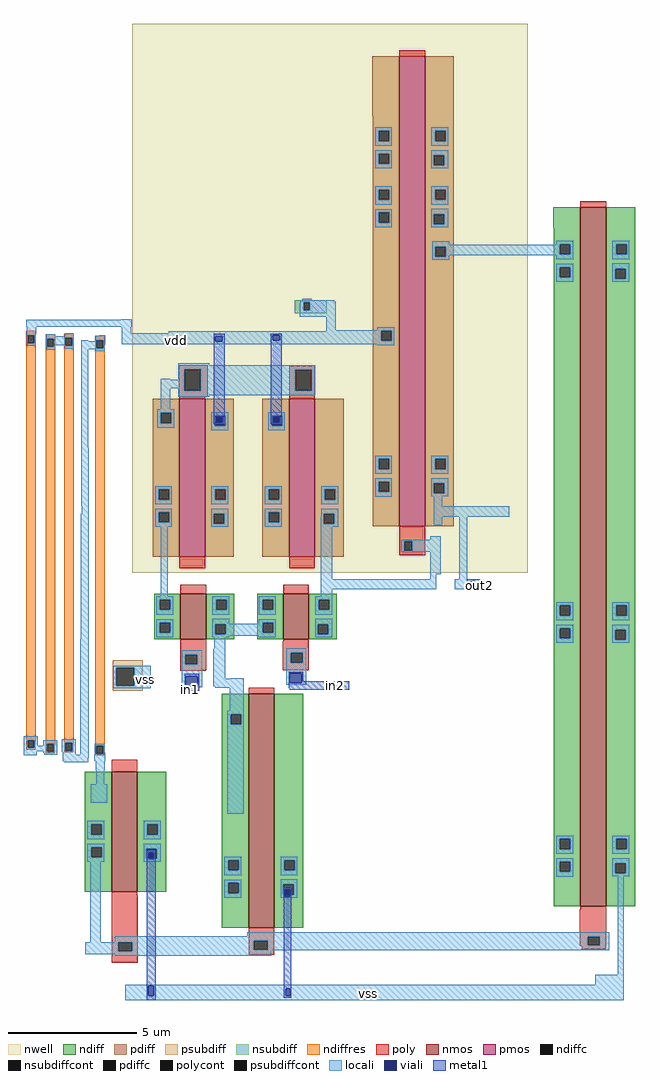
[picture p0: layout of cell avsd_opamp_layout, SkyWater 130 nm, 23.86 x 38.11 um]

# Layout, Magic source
magic
tech sky130A
<< nwell >>
rect -107 629 1438 2771
<< nmos >>
rect 81 368 181 547
rect 482 368 582 547
rect -187 -617 -87 -149
rect 347 -757 447 155
rect 1643 -674 1743 2056
<< pmos >>
rect 77 691 177 1307
rect 506 691 606 1307
rect 936 810 1036 2645
<< ndiff >>
rect 1537 1975 1643 2056
rect 1538 1911 1643 1975
rect 1538 1871 1563 1911
rect 1604 1871 1643 1911
rect 1538 1822 1643 1871
rect 1538 1782 1563 1822
rect 1604 1782 1643 1822
rect -21 523 81 547
rect -21 483 1 523
rect 42 483 81 523
rect -21 434 81 483
rect -21 394 1 434
rect 42 394 81 434
rect -21 368 81 394
rect 181 523 291 547
rect 181 483 220 523
rect 261 483 291 523
rect 181 428 291 483
rect 181 388 216 428
rect 257 388 291 428
rect 181 368 291 388
rect 380 523 482 547
rect 380 483 402 523
rect 443 483 482 523
rect 380 434 482 483
rect 380 394 402 434
rect 443 394 482 434
rect 380 368 482 394
rect 582 523 692 547
rect 582 483 621 523
rect 662 483 692 523
rect 582 428 692 483
rect 582 388 617 428
rect 658 388 692 428
rect 582 368 692 388
rect 1538 501 1643 1782
rect 1538 461 1563 501
rect 1604 461 1643 501
rect 1538 412 1643 461
rect 1538 372 1563 412
rect 1604 372 1643 412
rect 242 76 347 155
rect 242 36 278 76
rect 319 36 347 76
rect -292 -354 -187 -149
rect -292 -394 -267 -354
rect -226 -394 -187 -354
rect -292 -443 -187 -394
rect -292 -483 -267 -443
rect -226 -483 -187 -443
rect -292 -617 -187 -483
rect -87 -354 26 -149
rect -87 -394 -48 -354
rect -7 -394 26 -354
rect -87 -449 26 -394
rect -87 -489 -52 -449
rect -11 -489 26 -449
rect -87 -617 26 -489
rect 242 -494 347 36
rect 242 -534 267 -494
rect 308 -534 347 -494
rect 242 -583 347 -534
rect 242 -623 267 -583
rect 308 -623 347 -583
rect 242 -757 347 -623
rect 447 -494 560 155
rect 447 -534 486 -494
rect 527 -534 560 -494
rect 447 -589 560 -534
rect 447 -629 482 -589
rect 523 -629 560 -589
rect 447 -757 560 -629
rect 1538 -411 1643 372
rect 1538 -451 1563 -411
rect 1604 -451 1643 -411
rect 1538 -500 1643 -451
rect 1538 -540 1563 -500
rect 1604 -540 1643 -500
rect 1538 -674 1643 -540
rect 1743 1911 1856 2056
rect 1743 1871 1782 1911
rect 1823 1871 1856 1911
rect 1743 1816 1856 1871
rect 1743 1776 1778 1816
rect 1819 1776 1856 1816
rect 1743 501 1856 1776
rect 1743 461 1782 501
rect 1823 461 1856 501
rect 1743 406 1856 461
rect 1743 366 1778 406
rect 1819 366 1856 406
rect 1743 -411 1856 366
rect 1743 -451 1782 -411
rect 1823 -451 1856 -411
rect 1743 -506 1856 -451
rect 1743 -546 1778 -506
rect 1819 -546 1856 -506
rect 1743 -674 1856 -546
<< pdiff >>
rect 830 2413 936 2645
rect 831 2354 936 2413
rect 831 2314 856 2354
rect 897 2314 936 2354
rect 831 2265 936 2314
rect 831 2225 856 2265
rect 897 2225 936 2265
rect 831 2124 936 2225
rect 831 2084 856 2124
rect 897 2084 936 2124
rect 831 2035 936 2084
rect 831 1995 856 2035
rect 897 1995 936 2035
rect 831 1574 936 1995
rect 831 1534 865 1574
rect 906 1534 936 1574
rect -28 1253 77 1307
rect -28 1213 5 1253
rect 46 1213 77 1253
rect -28 954 77 1213
rect -28 914 -3 954
rect 38 914 77 954
rect -28 865 77 914
rect -28 825 -3 865
rect 38 825 77 865
rect -28 691 77 825
rect 177 1242 290 1307
rect 177 1202 215 1242
rect 256 1202 290 1242
rect 177 954 290 1202
rect 177 914 216 954
rect 257 914 290 954
rect 177 859 290 914
rect 177 819 212 859
rect 253 819 290 859
rect 177 691 290 819
rect 401 1242 506 1307
rect 401 1202 437 1242
rect 478 1202 506 1242
rect 401 954 506 1202
rect 401 914 426 954
rect 467 914 506 954
rect 401 865 506 914
rect 401 825 426 865
rect 467 825 506 865
rect 401 691 506 825
rect 606 954 719 1307
rect 606 914 645 954
rect 686 914 719 954
rect 606 859 719 914
rect 606 819 641 859
rect 682 819 719 859
rect 606 691 719 819
rect 831 1073 936 1534
rect 831 1033 856 1073
rect 897 1033 936 1073
rect 831 984 936 1033
rect 831 944 856 984
rect 897 944 936 984
rect 831 810 936 944
rect 1036 2354 1149 2645
rect 1036 2314 1075 2354
rect 1116 2314 1149 2354
rect 1036 2259 1149 2314
rect 1036 2219 1071 2259
rect 1112 2219 1149 2259
rect 1036 2124 1149 2219
rect 1036 2084 1075 2124
rect 1116 2084 1149 2124
rect 1036 2029 1149 2084
rect 1036 1989 1071 2029
rect 1112 1989 1149 2029
rect 1036 1902 1149 1989
rect 1036 1862 1075 1902
rect 1116 1862 1149 1902
rect 1036 1073 1149 1862
rect 1036 1033 1075 1073
rect 1116 1033 1149 1073
rect 1036 978 1149 1033
rect 1036 938 1071 978
rect 1112 938 1149 978
rect 1036 810 1149 938
<< ndiffc >>
rect -516 1525 -489 1556
rect -516 -56 -489 -25
rect -440 1511 -413 1542
rect -440 -70 -413 -39
rect -368 1514 -341 1545
rect -368 -67 -341 -36
rect -247 1505 -220 1536
rect 1563 1871 1604 1911
rect 1563 1782 1604 1822
rect 1 483 42 523
rect 1 394 42 434
rect 220 483 261 523
rect 216 388 257 428
rect 402 483 443 523
rect 402 394 443 434
rect 621 483 662 523
rect 617 388 658 428
rect 1563 461 1604 501
rect 1563 372 1604 412
rect -248 -78 -221 -47
rect 278 36 319 76
rect -267 -394 -226 -354
rect -267 -483 -226 -443
rect -48 -394 -7 -354
rect -52 -489 -11 -449
rect 267 -534 308 -494
rect 267 -623 308 -583
rect 486 -534 527 -494
rect 482 -629 523 -589
rect 1563 -451 1604 -411
rect 1563 -540 1604 -500
rect 1782 1871 1823 1911
rect 1778 1776 1819 1816
rect 1782 461 1823 501
rect 1778 366 1819 406
rect 1782 -451 1823 -411
rect 1778 -546 1819 -506
<< pdiffc >>
rect 856 2314 897 2354
rect 856 2225 897 2265
rect 856 2084 897 2124
rect 856 1995 897 2035
rect 865 1534 906 1574
rect 5 1213 46 1253
rect -3 914 38 954
rect -3 825 38 865
rect 215 1202 256 1242
rect 216 914 257 954
rect 212 819 253 859
rect 437 1202 478 1242
rect 426 914 467 954
rect 426 825 467 865
rect 645 914 686 954
rect 641 819 682 859
rect 856 1033 897 1073
rect 856 944 897 984
rect 1075 2314 1116 2354
rect 1071 2219 1112 2259
rect 1075 2084 1116 2124
rect 1071 1989 1112 2029
rect 1075 1862 1116 1902
rect 1075 1033 1116 1073
rect 1071 938 1112 978
<< psubdiff >>
rect -184 258 -66 287
rect -184 188 -169 258
rect -99 188 -66 258
rect -184 168 -66 188
<< nsubdiff >>
rect 556 1693 594 1698
rect 527 1684 652 1693
rect 527 1654 563 1684
rect 586 1654 652 1684
rect 527 1641 652 1654
<< psubdiffcont >>
rect -169 188 -99 258
<< nsubdiffcont >>
rect 563 1654 586 1684
<< poly >>
rect 936 2645 1036 2668
rect 75 1422 188 1439
rect 75 1339 96 1422
rect 161 1339 188 1422
rect 75 1316 188 1339
rect 506 1421 606 1436
rect 506 1338 529 1421
rect 594 1338 606 1421
rect 77 1307 177 1316
rect 506 1307 606 1338
rect 1643 2056 1743 2079
rect 936 751 1036 810
rect 936 714 954 751
rect 986 714 1036 751
rect 936 697 1036 714
rect 77 645 177 691
rect 506 645 606 691
rect 81 547 181 581
rect 482 547 582 581
rect 81 309 181 368
rect 482 360 582 368
rect 81 271 99 309
rect 146 271 181 309
rect 81 247 181 271
rect 481 315 582 360
rect 481 277 512 315
rect 559 277 582 315
rect 481 248 582 277
rect 81 246 180 247
rect 347 155 447 180
rect -187 -149 -87 -101
rect -187 -632 -87 -617
rect -188 -815 -85 -632
rect 1643 -687 1743 -674
rect -188 -850 -161 -815
rect -107 -850 -85 -815
rect -188 -895 -85 -850
rect 347 -808 447 -757
rect 347 -843 367 -808
rect 421 -843 447 -808
rect 1641 -793 1743 -687
rect 1641 -826 1671 -793
rect 1719 -826 1743 -793
rect 1641 -829 1743 -826
rect 1647 -841 1741 -829
rect 347 -864 447 -843
<< polycont >>
rect 96 1339 161 1422
rect 529 1338 594 1421
rect 954 714 986 751
rect 99 271 146 309
rect 512 277 559 315
rect -161 -850 -107 -815
rect 367 -843 421 -808
rect 1671 -826 1719 -793
<< ndiffres >>
rect -521 1556 -484 1573
rect -521 1525 -516 1556
rect -489 1525 -484 1556
rect -521 -25 -484 1525
rect -521 -56 -516 -25
rect -489 -31 -484 -25
rect -445 1542 -408 1559
rect -445 1511 -440 1542
rect -413 1511 -408 1542
rect -489 -56 -485 -31
rect -521 -62 -485 -56
rect -445 -39 -408 1511
rect -445 -70 -440 -39
rect -413 -45 -408 -39
rect -373 1545 -336 1562
rect -373 1514 -368 1545
rect -341 1514 -336 1545
rect -373 -36 -336 1514
rect -413 -70 -409 -45
rect -445 -76 -409 -70
rect -373 -67 -368 -36
rect -341 -42 -336 -36
rect -252 1536 -215 1553
rect -252 1505 -247 1536
rect -220 1505 -215 1536
rect -341 -67 -337 -42
rect -373 -73 -337 -67
rect -252 -47 -215 1505
rect -252 -78 -248 -47
rect -221 -51 -215 -47
rect -221 -78 -216 -51
rect -252 -84 -216 -78
<< locali >>
rect 841 2354 907 2367
rect 841 2314 856 2354
rect 897 2314 907 2354
rect 841 2296 907 2314
rect 1061 2354 1127 2367
rect 1061 2314 1075 2354
rect 1116 2314 1127 2354
rect 1061 2296 1127 2314
rect 841 2265 907 2278
rect 841 2225 856 2265
rect 897 2225 907 2265
rect 841 2207 907 2225
rect 1061 2259 1127 2279
rect 1061 2219 1071 2259
rect 1112 2219 1127 2259
rect 1061 2208 1127 2219
rect 841 2124 907 2137
rect 841 2084 856 2124
rect 897 2084 907 2124
rect 841 2066 907 2084
rect 1061 2124 1127 2137
rect 1061 2084 1075 2124
rect 1116 2084 1127 2124
rect 1061 2066 1127 2084
rect 841 2035 907 2048
rect 841 1995 856 2035
rect 897 1995 907 2035
rect 841 1977 907 1995
rect 1061 2029 1127 2049
rect 1061 1989 1071 2029
rect 1112 1989 1127 2029
rect 1061 1978 1127 1989
rect 1065 1909 1131 1922
rect 1548 1911 1614 1924
rect 1548 1909 1563 1911
rect 1065 1902 1563 1909
rect 1065 1862 1075 1902
rect 1116 1871 1563 1902
rect 1604 1871 1614 1911
rect 1116 1869 1614 1871
rect 1116 1862 1131 1869
rect 1065 1851 1131 1862
rect 1548 1853 1614 1869
rect 1768 1911 1834 1924
rect 1768 1871 1782 1911
rect 1823 1871 1834 1911
rect 1768 1853 1834 1871
rect 1548 1822 1614 1835
rect 1548 1782 1563 1822
rect 1604 1782 1614 1822
rect 1548 1764 1614 1782
rect 1768 1816 1834 1836
rect 1768 1776 1778 1816
rect 1819 1776 1834 1816
rect 1768 1765 1834 1776
rect 549 1686 681 1693
rect 549 1684 687 1686
rect 549 1680 563 1684
rect 547 1654 563 1680
rect 586 1654 687 1684
rect 547 1628 687 1654
rect -150 1617 -112 1618
rect -522 1588 -110 1617
rect -520 1561 -482 1588
rect -150 1586 -112 1588
rect -149 1564 -112 1586
rect 651 1575 687 1628
rect 850 1575 916 1587
rect 651 1574 916 1575
rect 651 1571 865 1574
rect 35 1564 865 1571
rect -371 1562 -337 1564
rect -519 1556 -484 1561
rect -519 1525 -516 1556
rect -489 1525 -484 1556
rect -519 1522 -484 1525
rect -518 1514 -484 1522
rect -443 1559 -409 1560
rect -443 1551 -408 1559
rect -371 1551 -336 1562
rect -149 1556 865 1564
rect -236 1553 -213 1555
rect -443 1545 -336 1551
rect -443 1542 -368 1545
rect -443 1511 -440 1542
rect -413 1516 -368 1542
rect -413 1511 -408 1516
rect -371 1514 -368 1516
rect -341 1514 -336 1545
rect -249 1536 -213 1553
rect -371 1511 -336 1514
rect -443 1508 -408 1511
rect -442 1500 -408 1508
rect -370 1503 -336 1511
rect -307 1533 -279 1536
rect -250 1533 -247 1536
rect -307 1505 -247 1533
rect -220 1518 -213 1536
rect -149 1552 441 1556
rect -149 1532 217 1552
rect 244 1536 441 1552
rect 468 1536 865 1556
rect 244 1534 865 1536
rect 906 1534 916 1574
rect 244 1532 916 1534
rect -149 1521 916 1532
rect -220 1505 -215 1518
rect 850 1516 916 1521
rect -307 1501 -215 1505
rect -307 1117 -279 1501
rect -249 1494 -215 1501
rect 72 1438 193 1446
rect 72 1422 607 1438
rect 4 1382 41 1385
rect 72 1382 96 1422
rect 4 1349 96 1382
rect 4 1266 41 1349
rect 72 1339 96 1349
rect 161 1421 607 1422
rect 161 1339 529 1421
rect 72 1338 529 1339
rect 594 1338 607 1421
rect 72 1321 607 1338
rect 72 1315 193 1321
rect -9 1253 57 1266
rect -9 1213 5 1253
rect 46 1213 57 1253
rect -9 1195 57 1213
rect 201 1242 267 1255
rect 201 1202 215 1242
rect 256 1202 267 1242
rect 201 1184 267 1202
rect 423 1242 489 1255
rect 423 1202 437 1242
rect 478 1202 489 1242
rect 423 1184 489 1202
rect -307 890 -277 1117
rect 841 1073 907 1086
rect 841 1033 856 1073
rect 897 1033 907 1073
rect 841 1015 907 1033
rect 1061 1073 1127 1086
rect 1061 1033 1075 1073
rect 1116 1033 1127 1073
rect 1061 1015 1127 1033
rect 841 984 907 997
rect -18 954 48 967
rect -18 914 -3 954
rect 38 914 48 954
rect -18 896 48 914
rect 202 954 268 967
rect 202 914 216 954
rect 257 914 268 954
rect 202 896 268 914
rect 411 954 477 967
rect 411 914 426 954
rect 467 914 477 954
rect 411 896 477 914
rect 631 954 697 967
rect 631 914 645 954
rect 686 914 697 954
rect 841 944 856 984
rect 897 944 907 984
rect 841 926 907 944
rect 1061 978 1127 998
rect 1061 938 1071 978
rect 1112 938 1127 978
rect 1061 927 1127 938
rect 631 896 697 914
rect -305 859 -277 890
rect 1071 887 1104 927
rect -309 804 -277 859
rect -18 865 48 878
rect -18 825 -3 865
rect 38 825 48 865
rect -18 807 48 825
rect 202 859 268 879
rect 202 819 212 859
rect 253 819 268 859
rect 202 808 268 819
rect 411 865 477 878
rect 411 825 426 865
rect 467 825 477 865
rect 631 859 697 879
rect 631 846 641 859
rect 411 807 477 825
rect 628 819 641 846
rect 682 819 697 859
rect 628 808 697 819
rect 1071 846 1365 887
rect 1071 813 1104 846
rect -309 368 -278 804
rect 5 536 32 807
rect 628 602 673 808
rect 1056 757 1098 771
rect 944 751 1098 757
rect 944 714 954 751
rect 986 714 1098 751
rect 944 710 1098 714
rect 1056 622 1098 710
rect 1056 602 1080 622
rect 1170 602 1200 846
rect 628 563 1080 602
rect 1152 594 1231 602
rect 1152 567 1205 594
rect 1228 567 1231 594
rect 1152 563 1231 567
rect 628 536 673 563
rect -14 523 52 536
rect -14 483 1 523
rect 42 483 52 523
rect -14 465 52 483
rect 206 523 272 536
rect 206 483 220 523
rect 261 483 272 523
rect 206 465 272 483
rect 387 523 453 536
rect 387 483 402 523
rect 443 483 453 523
rect 387 465 453 483
rect 607 523 673 536
rect 607 483 621 523
rect 662 483 673 523
rect 607 465 673 483
rect 1548 501 1614 514
rect 1548 461 1563 501
rect 1604 461 1614 501
rect -14 434 52 447
rect -14 394 1 434
rect 42 394 52 434
rect -14 376 52 394
rect 206 430 272 448
rect 387 434 453 447
rect 387 430 402 434
rect 206 428 402 430
rect 206 388 216 428
rect 257 394 402 428
rect 443 394 453 434
rect 257 388 453 394
rect 206 382 453 388
rect 206 377 272 382
rect -530 -25 -476 -11
rect -530 -56 -516 -25
rect -489 -47 -476 -25
rect -454 -39 -400 -25
rect -454 -47 -440 -39
rect -489 -56 -440 -47
rect -530 -69 -440 -56
rect -530 -85 -481 -69
rect -454 -70 -440 -69
rect -413 -70 -400 -39
rect -454 -74 -400 -70
rect -382 -36 -328 -22
rect -382 -67 -368 -36
rect -341 -67 -328 -36
rect -382 -71 -328 -67
rect -451 -82 -400 -74
rect -379 -83 -328 -71
rect -310 -83 -278 368
rect 213 332 256 377
rect 387 376 453 382
rect 607 428 673 448
rect 1548 443 1614 461
rect 1768 501 1834 514
rect 1768 461 1782 501
rect 1823 461 1834 501
rect 1768 443 1834 461
rect 607 388 617 428
rect 658 388 673 428
rect 607 377 673 388
rect 1548 412 1614 425
rect 1548 372 1563 412
rect 1604 372 1614 412
rect 1548 354 1614 372
rect 1768 406 1834 426
rect 1768 366 1778 406
rect 1819 366 1834 406
rect 1768 355 1834 366
rect 87 309 166 325
rect 87 271 99 309
rect 146 271 166 309
rect -182 258 -34 266
rect -182 188 -169 258
rect -99 188 -34 258
rect -182 177 -34 188
rect 87 225 166 271
rect 87 187 102 225
rect 149 187 166 225
rect 87 182 166 187
rect 210 214 256 332
rect 494 315 573 333
rect 494 277 512 315
rect 559 277 573 315
rect 494 236 573 277
rect 274 214 328 216
rect 210 186 328 214
rect 494 198 508 236
rect 555 198 573 236
rect 494 190 573 198
rect 216 180 328 186
rect 274 89 328 180
rect 263 76 329 89
rect 263 36 278 76
rect 319 36 329 76
rect -254 -47 -215 -39
rect -254 -78 -248 -47
rect -221 -73 -215 -47
rect -221 -74 -214 -73
rect -221 -78 -212 -74
rect -254 -83 -212 -78
rect -379 -95 -278 -83
rect -379 -108 -279 -95
rect -256 -106 -212 -83
rect -373 -111 -279 -108
rect -369 -112 -346 -111
rect -249 -142 -214 -106
rect -248 -198 -216 -142
rect -270 -269 -204 -198
rect 263 -313 329 36
rect -282 -354 -216 -341
rect -282 -394 -267 -354
rect -226 -394 -216 -354
rect -282 -412 -216 -394
rect -62 -354 4 -341
rect -62 -394 -48 -354
rect -7 -394 4 -354
rect -62 -412 4 -394
rect 1548 -411 1614 -398
rect -282 -443 -216 -430
rect -282 -483 -267 -443
rect -226 -483 -216 -443
rect -282 -501 -216 -483
rect -62 -449 4 -429
rect -62 -489 -52 -449
rect -11 -489 4 -449
rect 1548 -451 1563 -411
rect 1604 -451 1614 -411
rect 1548 -469 1614 -451
rect 1768 -411 1834 -398
rect 1768 -451 1782 -411
rect 1823 -451 1834 -411
rect 1768 -469 1834 -451
rect -62 -500 4 -489
rect 252 -494 318 -481
rect -272 -815 -230 -501
rect 252 -534 267 -494
rect 308 -534 318 -494
rect 252 -552 318 -534
rect 472 -494 538 -481
rect 472 -534 486 -494
rect 527 -534 538 -494
rect 472 -552 538 -534
rect 1548 -500 1614 -487
rect 1548 -540 1563 -500
rect 1604 -540 1614 -500
rect 1548 -558 1614 -540
rect 1768 -506 1834 -486
rect 1768 -546 1778 -506
rect 1819 -546 1834 -506
rect 1768 -557 1834 -546
rect 252 -583 318 -570
rect 252 -623 267 -583
rect 308 -623 318 -583
rect 252 -641 318 -623
rect 472 -589 538 -569
rect 472 -629 482 -589
rect 523 -629 538 -589
rect 472 -636 489 -629
rect 507 -636 538 -629
rect 472 -640 538 -636
rect 342 -792 1755 -775
rect -176 -793 1755 -792
rect -176 -808 1671 -793
rect -176 -815 367 -808
rect -290 -850 -161 -815
rect -107 -843 367 -815
rect 421 -826 1671 -808
rect 1719 -826 1755 -793
rect 421 -843 1755 -826
rect -107 -846 1755 -843
rect -107 -850 436 -846
rect -290 -862 436 -850
rect -176 -868 436 -862
rect 1788 -942 1811 -557
rect 1701 -981 1811 -942
rect -135 -984 1811 -981
rect -135 -1023 -45 -984
rect -23 -996 1811 -984
rect -23 -1023 492 -996
rect 509 -1023 1811 -996
rect -135 -1040 1811 -1023
<< viali >>
rect 217 1532 244 1552
rect 441 1536 468 1556
rect 219 1216 247 1238
rect 441 1216 469 1238
rect 1205 567 1228 594
rect 102 187 149 225
rect 508 198 555 236
rect -42 -488 -23 -466
rect 489 -629 507 -607
rect 489 -636 507 -629
rect -45 -1023 -23 -984
rect 492 -1023 509 -996
<< metal1 >>
rect 212 1552 254 1561
rect 212 1532 217 1552
rect 244 1532 254 1552
rect 212 1238 254 1532
rect 212 1216 219 1238
rect 247 1216 254 1238
rect 212 1209 254 1216
rect 434 1556 476 1561
rect 434 1536 441 1556
rect 468 1536 476 1556
rect 434 1238 476 1536
rect 434 1216 441 1238
rect 469 1216 476 1238
rect 434 1209 476 1216
rect 1198 594 1264 602
rect 1198 567 1205 594
rect 1228 567 1264 594
rect 1198 563 1264 567
rect 504 236 561 242
rect 98 225 155 233
rect 98 187 102 225
rect 149 187 155 225
rect 98 168 155 187
rect 504 198 508 236
rect 555 205 561 236
rect 555 198 741 205
rect 504 177 741 198
rect 507 172 741 177
rect -50 -466 -15 -455
rect -50 -488 -42 -466
rect -23 -488 -15 -466
rect -50 -984 -15 -488
rect -50 -1023 -45 -984
rect -23 -1023 -15 -984
rect -50 -1040 -15 -1023
rect 485 -607 514 -599
rect 485 -636 489 -607
rect 507 -636 514 -607
rect 485 -996 514 -636
rect 485 -1023 492 -996
rect 509 -1023 514 -996
rect 485 -1031 514 -1023
<< labels >>
rlabel locali 64 1534 64 1534 1 vdd
rlabel metal1 1247 579 1247 579 1 out2
rlabel metal1 121 174 121 174 1 in1
rlabel metal1 688 188 688 188 1 in2
rlabel locali -54 212 -54 212 1 vss
rlabel locali 815 -1015 815 -1015 1 vss
<< end >>
